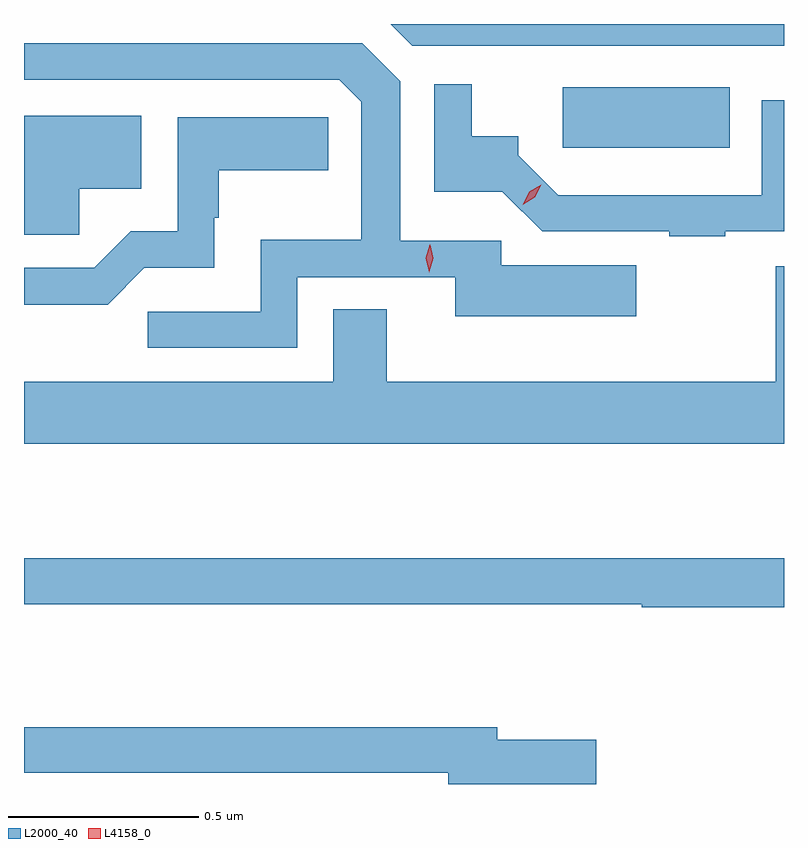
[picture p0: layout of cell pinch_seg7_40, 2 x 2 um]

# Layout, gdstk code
import gdstk
lib = gdstk.Library(unit=1e-6, precision=1e-09)
def R(c, l, rs):  # rectangles x0, y0, x1, y1
    for r in rs: c.add(gdstk.rectangle(r[:2], r[2:], *l))
def P(c, l, *ps):  # polygons
    for p in ps: c.add(gdstk.Polygon(p, *l))
L2000_40 = (2000, 40)
L4158_0 = (4158, 0)

pinch_seg7_40 = lib.new_cell('pinch_seg7_40')
R(pinch_seg7_40, L2000_40, [(1051.203,1069.328,1051.642,1069.486)])
P(pinch_seg7_40, L2000_40, [(1051.785,1069.653),(1050.75,1069.653),(1050.807,1069.596),(1051.785,1069.596)],
  [(1050.504,1068.987),(1050.92,1068.987),(1050.92,1068.884),(1051.396,1068.884),(1051.396,1069.018),(1051.041,1069.018),(1051.041,1069.083),(1050.775,1069.083),(1050.775,1069.502),(1050.675,1069.602),(1049.785,1069.602),(1049.785,1069.506),(1050.615,1069.506),(1050.672,1069.449),(1050.672,1069.085),(1050.408,1069.085),(1050.408,1068.896),(1050.111,1068.896),(1050.111,1068.801),(1050.504,1068.801)],
  [(1051.631,1069.107),(1051.785,1069.107),(1051.785,1069.453),(1051.727,1069.453),(1051.727,1069.203),(1051.191,1069.203),(1051.086,1069.308),(1051.086,1069.357),(1050.963,1069.357),(1050.963,1069.495),(1050.864,1069.495),(1050.864,1069.212),(1051.044,1069.212),(1051.149,1069.107),(1051.483,1069.107),(1051.483,1069.095),(1051.631,1069.095)],
  [(1049.93,1069.22),(1050.094,1069.22),(1050.094,1069.411),(1049.785,1069.411),(1049.785,1069.098),(1049.93,1069.098)],
  [(1050.102,1069.011),(1050.285,1069.011),(1050.285,1069.143),(1050.298,1069.143),(1050.298,1069.268),(1050.586,1069.268),(1050.586,1069.407),(1050.479,1069.407),(1050.479,1069.408),(1050.189,1069.408),(1050.189,1069.107),(1050.066,1069.107),(1049.97,1069.011),(1049.785,1069.011),(1049.785,1068.914),(1050.005,1068.914)],
  [(1051.785,1069.015),(1051.763,1069.015),(1051.763,1068.712),(1050.739,1068.712),(1050.739,1068.902),(1050.599,1068.902),(1050.599,1068.712),(1049.785,1068.712),(1049.785,1068.548),(1051.785,1068.548)],
  [(1051.785,1068.247),(1049.785,1068.247),(1049.785,1068.126),(1051.411,1068.126),(1051.411,1068.118),(1051.785,1068.118)],
  [(1051.291,1067.769),(1051.03,1067.769),(1051.03,1067.803),(1049.785,1067.803),(1049.785,1067.682),(1050.902,1067.682),(1050.902,1067.653),(1051.291,1067.653)])
P(pinch_seg7_40, L4158_0, [(1051.097,1069.177),(1051.097,1069.178),(1051.114,1069.211),(1051.146,1069.23),(1051.146,1069.23),(1051.146,1069.23),(1051.129,1069.197),(1051.098,1069.177)],
  [(1050.851,1069),(1050.851,1069.001),(1050.842,1069.037),(1050.853,1069.072),(1050.853,1069.072),(1050.854,1069.072),(1050.862,1069.036),(1050.851,1069.001)])

lib.write_gds('pinch_seg7_40.gds')
